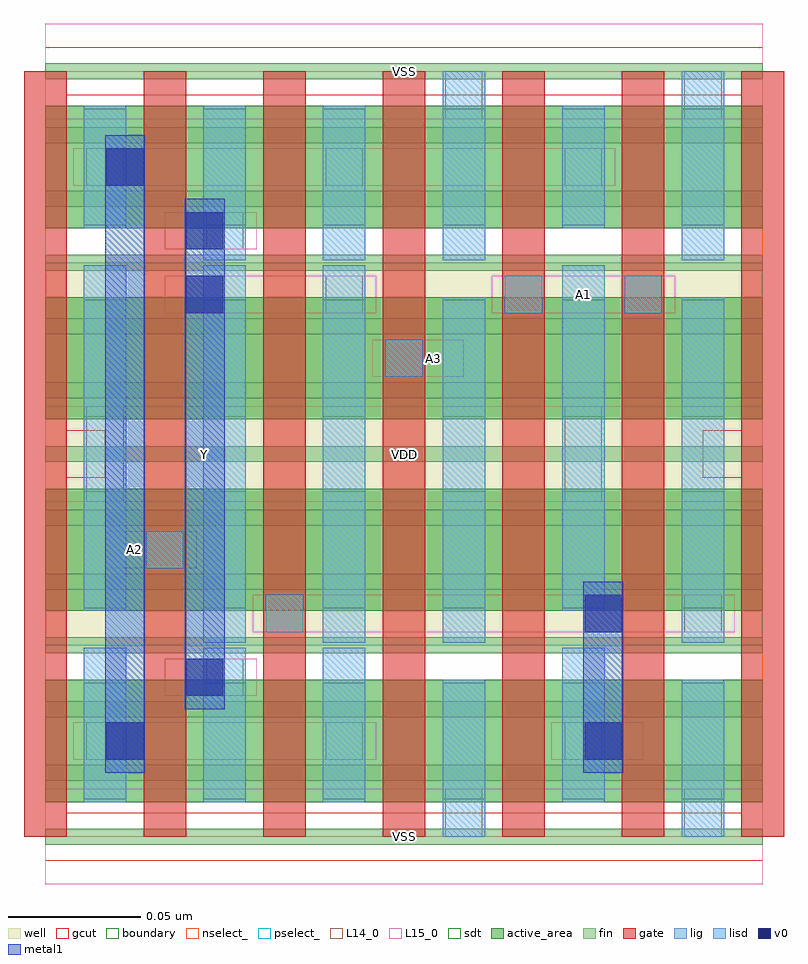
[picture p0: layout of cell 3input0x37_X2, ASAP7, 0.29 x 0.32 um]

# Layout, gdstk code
import gdstk
lib = gdstk.Library(unit=1e-6, precision=2.5e-10)
def R(c, l, rs):  # rectangles x0, y0, x1, y1
    for r in rs: c.add(gdstk.rectangle(r[:2], r[2:], *l))
def A(c, l, x, y, w, h, nx, ny, dx, dy):  # array of equal rectangles
    R(c, l, [(x+i*dx, y+j*dy, x+i*dx+w, y+j*dy+h) for i in range(nx) for j in range(ny)])
def P(c, l, *ps):  # polygons
    for p in ps: c.add(gdstk.Polygon(p, *l))
well = (1, 0)
fin = (2, 0)
gate = (7, 0)
gcut = (10, 0)
active_area = (11, 0)
nselect_ = (12, 0)
pselect_ = (13, 0)
L14_0 = (14, 0)
L15_0 = (15, 0)
lig = (16, 0)
lisd = (17, 0)
v0 = (18, 0)
metal1 = (19, 0)
sdt = (88, 0)
boundary = (100, 0)

c_3input0x37_x2 = lib.new_cell('3input0x37_X2')
R(c_3input0x37_x2, well, [(0,0.072,0.27,0.144), (0,0.144,0.27,0.216)])
A(c_3input0x37_x2, fin, 0, -0.003, 0.27, 0.006, 1, 13, 0, 0.024)
A(c_3input0x37_x2, gate, -0.008, 0, 0.016, 0.288, 7, 1, 0.045, 0)
P(c_3input0x37_x2, gcut, [(0,-0.009),(0,0),(-0.008,0),(-0.008,0.279),(0.008,0.279),(0.008,0.153),(0.0225,0.153),(0.0225,0.135),(0.008,0.135),(0.008,0.009),(0.262,0.009),(0.262,0.135),(0.2475,0.135),(0.2475,0.153),(0.262,0.153),(0.262,0.279),(-0.008,0.279),(-0.008,0.288),(0,0.288),(0,0.297),(0.27,0.297),(0.27,0.288),(0.278,0.288),(0.278,0),(0.27,0),(0.27,-0.009)])
A(c_3input0x37_x2, active_area, 0, 0.013, 0.27, 0.046, 1, 4, 0, 0.072)
R(c_3input0x37_x2, nselect_, [(0,0,0.27,0.072), (0,0.216,0.27,0.288)])
R(c_3input0x37_x2, pselect_, [(0,0.072,0.27,0.144), (0,0.144,0.27,0.216)])
A(c_3input0x37_x2, L14_0, 0.0155, 0.029, 0.014, 0.014, 3, 2, 0.09, 0.216)
R(c_3input0x37_x2, L14_0, [(0.1505,0,0.1645,0.018), (0.2405,0,0.2545,0.018), (0.0605,0.053,0.0745,0.067), (0.083,0.077,0.097,0.091), (0.2405,0.077,0.2545,0.091), (0.038,0.101,0.052,0.115), (0.0155,0.126,0.0295,0.144), (0.1955,0.126,0.2095,0.144), (0.0155,0.144,0.0295,0.162), (0.1955,0.144,0.2095,0.162), (0.128,0.173,0.142,0.187), (0.1055,0.197,0.1195,0.211), (0.173,0.197,0.187,0.211), (0.218,0.197,0.232,0.211), (0.0605,0.221,0.0745,0.235), (0.1505,0.27,0.1645,0.288), (0.2405,0.27,0.2545,0.288)])
A(c_3input0x37_x2, L15_0, 0, -0.018, 0.27, 0.036, 1, 3, 0, 0.144)
R(c_3input0x37_x2, L15_0, [(0.0105,0.029,0.1245,0.043), (0.1905,0.029,0.225,0.043), (0.045,0.053,0.0795,0.067), (0.078,0.077,0.2595,0.091), (0.0225,0.101,0.057,0.115), (0.123,0.173,0.1575,0.187), (0.045,0.197,0.1245,0.211), (0.168,0.197,0.237,0.211), (0.045,0.221,0.0795,0.235), (0.0105,0.245,0.2145,0.259)])
R(c_3input0x37_x2, lig, [(0.083,0.077,0.097,0.091), (0.038,0.101,0.052,0.115), (0.128,0.173,0.142,0.187), (0.173,0.197,0.187,0.211), (0.218,0.197,0.232,0.211)])
A(c_3input0x37_x2, lisd, 0.0145, 0.013, 0.016, 0.058, 3, 1, 0.045, 0)
R(c_3input0x37_x2, lisd, [(0.1495,0,0.1655,0.059), (0.2395,0,0.2555,0.059), (0.1945,0.013,0.2105,0.071), (0.0595,0.073,0.0755,0.215), (0.1045,0.073,0.1205,0.215), (0.1495,0.073,0.1655,0.203), (0.2395,0.073,0.2555,0.203), (0.0145,0.085,0.0305,0.215), (0.1945,0.085,0.2105,0.215), (0.0595,0.217,0.0755,0.275), (0.1045,0.217,0.1205,0.275), (0.1495,0.217,0.1655,0.288), (0.2395,0.217,0.2555,0.288), (0.0145,0.229,0.0305,0.275), (0.1945,0.229,0.2105,0.275)])
R(c_3input0x37_x2, v0, [(0.023,0.029,0.037,0.043), (0.203,0.029,0.217,0.043), (0.053,0.053,0.067,0.067), (0.203,0.077,0.217,0.091), (0.053,0.197,0.067,0.211), (0.053,0.221,0.067,0.235), (0.023,0.245,0.037,0.259)])
R(c_3input0x37_x2, metal1, [(0.0225,0.024,0.0375,0.264), (0.2025,0.024,0.2175,0.096), (0.0525,0.048,0.0675,0.24)])
A(c_3input0x37_x2, sdt, 0.0145, 0.014, 0.016, 0.044, 6, 4, 0.045, 0.072)
R(c_3input0x37_x2, boundary, [(0,0,0.27,0.288)])
c_3input0x37_x2.add(gdstk.Label('VSS', (0.135,0), layer=15, texttype=251))
c_3input0x37_x2.add(gdstk.Label('VDD', (0.135,0.144), layer=15, texttype=251))
c_3input0x37_x2.add(gdstk.Label('VDD', (0.135,0.144), layer=15, texttype=251))
c_3input0x37_x2.add(gdstk.Label('VSS', (0.135,0.288), layer=15, texttype=251))
c_3input0x37_x2.add(gdstk.Label('A2', (0.0338,0.108), layer=15, texttype=251))
c_3input0x37_x2.add(gdstk.Label('VSS', (0.135,0), layer=15, texttype=251))
c_3input0x37_x2.add(gdstk.Label('VDD', (0.135,0.144), layer=15, texttype=251))
c_3input0x37_x2.add(gdstk.Label('VDD', (0.135,0.144), layer=15, texttype=251))
c_3input0x37_x2.add(gdstk.Label('VSS', (0.135,0.288), layer=15, texttype=251))
c_3input0x37_x2.add(gdstk.Label('A1', (0.2025,0.204), layer=15, texttype=251))
c_3input0x37_x2.add(gdstk.Label('VSS', (0.135,0), layer=15, texttype=251))
c_3input0x37_x2.add(gdstk.Label('VDD', (0.135,0.144), layer=15, texttype=251))
c_3input0x37_x2.add(gdstk.Label('VDD', (0.135,0.144), layer=15, texttype=251))
c_3input0x37_x2.add(gdstk.Label('VSS', (0.135,0.288), layer=15, texttype=251))
c_3input0x37_x2.add(gdstk.Label('A3', (0.1462,0.18), layer=15, texttype=251))
c_3input0x37_x2.add(gdstk.Label('VSS', (0.135,0), layer=15, texttype=251))
c_3input0x37_x2.add(gdstk.Label('VDD', (0.135,0.144), layer=15, texttype=251))
c_3input0x37_x2.add(gdstk.Label('VDD', (0.135,0.144), layer=15, texttype=251))
c_3input0x37_x2.add(gdstk.Label('VSS', (0.135,0.288), layer=15, texttype=251))
c_3input0x37_x2.add(gdstk.Label('Y', (0.06,0.144), layer=19, texttype=251))
c_3input0x37_x2.add(gdstk.Label('VSS', (0.135,0), layer=3, texttype=251))
c_3input0x37_x2.add(gdstk.Label('VSS', (0.135,0.288), layer=3, texttype=251))
c_3input0x37_x2.add(gdstk.Label('VSS', (0.135,0), layer=3, texttype=251))
c_3input0x37_x2.add(gdstk.Label('VSS', (0.135,0.288), layer=3, texttype=251))
c_3input0x37_x2.add(gdstk.Label('VSS', (0.135,0), layer=3, texttype=251))
c_3input0x37_x2.add(gdstk.Label('VSS', (0.135,0.288), layer=3, texttype=251))
c_3input0x37_x2.add(gdstk.Label('VSS', (0.135,0), layer=3, texttype=251))
c_3input0x37_x2.add(gdstk.Label('VSS', (0.135,0.288), layer=3, texttype=251))
c_3input0x37_x2.add(gdstk.Label('VDD', (0.135,0.144), layer=1, texttype=251))
c_3input0x37_x2.add(gdstk.Label('VDD', (0.135,0.144), layer=1, texttype=251))
c_3input0x37_x2.add(gdstk.Label('VDD', (0.135,0.144), layer=1, texttype=251))
c_3input0x37_x2.add(gdstk.Label('VDD', (0.135,0.144), layer=1, texttype=251))
c_3input0x37_x2.add(gdstk.Label('VDD', (0.135,0.144), layer=1, texttype=251))
c_3input0x37_x2.add(gdstk.Label('VDD', (0.135,0.144), layer=1, texttype=251))
c_3input0x37_x2.add(gdstk.Label('VDD', (0.135,0.144), layer=1, texttype=251))
c_3input0x37_x2.add(gdstk.Label('VDD', (0.135,0.144), layer=1, texttype=251))

lib.write_gds('3input0x37_X2.gds')
